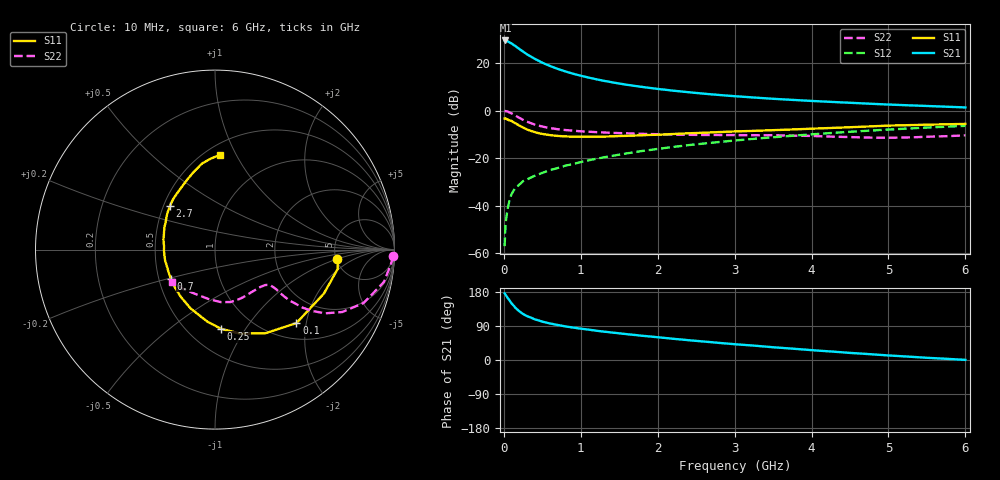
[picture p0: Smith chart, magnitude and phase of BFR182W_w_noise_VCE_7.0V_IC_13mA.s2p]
! Infineon Technologies  Discrete & RF Semiconductors
! BFR182W
! VCE =  7.0 V,  IC =  13 mA
! Common Emitter S-Parameters:  Jan 2017
# GHz  S  MA  R  50
!  f  S11  S21  S12  S22
! GHz  MAG  ANG  MAG  ANG  MAG  ANG  MAG  ANG
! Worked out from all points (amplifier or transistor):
!   77 points, 10 MHz to 6 GHz, reference 50 ohm
!   highest |S21| = 29.6 dB at 20 MHz (marker M1)
!   |S21| within 3 dB of that: start of sweep to 176.6 MHz
!   unconditionally stable (mu >= 1): 993.3 MHz to 2.534 GHz
!   at 130 MHz: K = 0.33, MSG = 30.6 dB, |S12| = -33.5 dB
!   at 2.2 GHz: K = 1.02, MAG = 11.0 dB, |S12| = -15.3 dB
!   at 6 GHz: K = 0.86, MSG = 3.9 dB, |S12| = -6.4 dB
!   lowest NFmin = 1.17 dB at 450 MHz
!   S11 on the Smith chart (normalised r, x): 10 MHz: 5.12, -1.01; 100 MHz: 1.34, -1.76; 250 MHz: 0.71, -0.78; 700 MHz: 0.58, -0.20; 2.7 GHz: 0.54, +0.30; 6 GHz: 0.59, +0.86
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0.01  0.6838 -4.4  30.16 176.0  0.0014 91.3  0.9925 -2.1
0.02  0.6924 -8.9  30.23 173.1  0.0035 102.0  0.9843 -4.5
0.05  0.6543 -22.0  28.96 163.6  0.0087 79.2  0.9587 -10.8
0.1  0.6111 -42.1  26.21 149.4  0.0174 73.1  0.8804 -19.7
0.15  0.5442 -58.9  23.03 137.8  0.0237 67.3  0.7902 -26.1
0.2  0.4885 -73.4  20.07 128.7  0.0276 65.1  0.71 -30.0
0.25  0.4422 -85.7  17.59 121.4  0.0328 62.1  0.6425 -32.2
0.3  0.4042 -95.9  15.47 115.9  0.0356 62.5  0.587 -33.5
0.4  0.355 -112.5  12.42 107.4  0.0425 62.1  0.5121 -34.2
0.5  0.3247 -126.1  10.28 101.3  0.049 62.9  0.4633 -34.1
0.6  0.3062 -137.3  8.761 96.4  0.056 64.1  0.4309 -33.5
0.7  0.2945 -146.7  7.606 92.4  0.0621 65.3  0.408 -33.0
0.9  0.2834 -161.9  6.017 85.6  0.0755 66.9  0.3793 -32.8
1.1  0.2836 -173.7  4.999 80.1  0.0902 67.7  0.3614 -33.2
1.3  0.2843 176.3  4.268 74.9  0.1044 67.6  0.3483 -34.4
1.5  0.2932 168.6  3.74 70.4  0.1186 67.6  0.3378 -36.4
2.1  0.3172 149.6  2.763 58.1  0.1645 65.6  0.3169 -45.5
2.7  0.3492 135.8  2.215 47.0  0.2113 62.3  0.3082 -57.6
3.1  0.37 127.4  1.973 40.2  0.2435 59.4  0.3059 -65.6
4.1  0.4241 110.5  1.579 24.6  0.3261 51.5  0.2901 -86.1
5.1  0.4898 97.2  1.33 10.8  0.4091 42.3  0.2708 -116.1
6  0.5279 87.1  1.174 0.3  0.4803 33.3  0.3028 -143.1
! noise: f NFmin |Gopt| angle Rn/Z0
0.45  1.17  0.04  108  0.14
0.9  1.26  0.05  122  0.14
1.9  1.73  0.23  -151  0.14
2.4  2  0.22  -136  0.21
